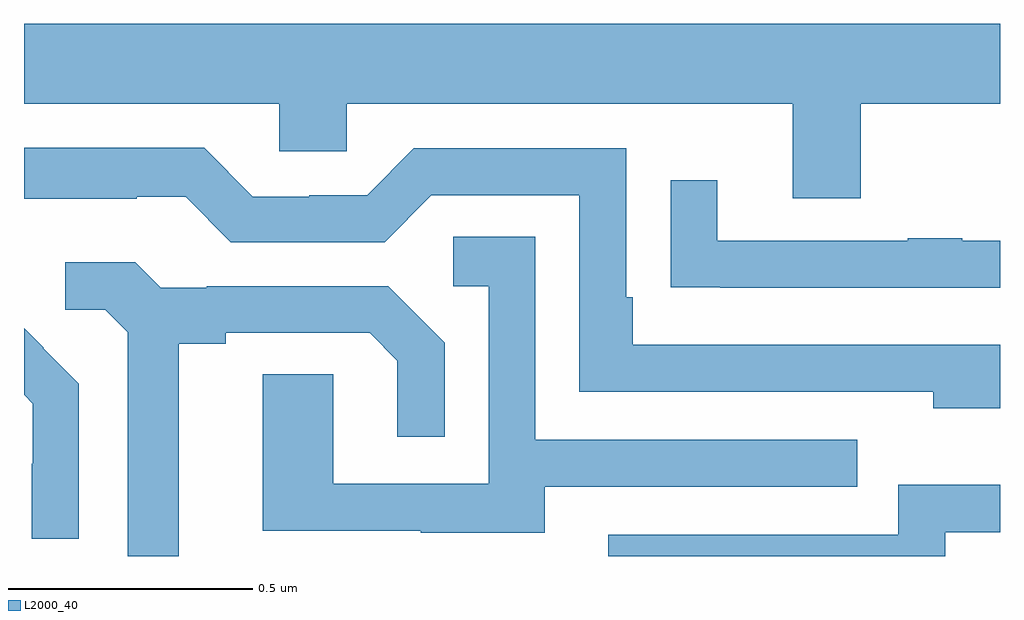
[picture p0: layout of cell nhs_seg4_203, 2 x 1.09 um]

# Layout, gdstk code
import gdstk
lib = gdstk.Library(unit=1e-6, precision=1e-09)
def P(c, l, *ps):  # polygons
    for p in ps: c.add(gdstk.Polygon(p, *l))
L2000_40 = (2000, 40)

nhs_seg4_203 = lib.new_cell('nhs_seg4_203')
P(nhs_seg4_203, L2000_40, [(114.715,788.828),(115,788.828),(115,788.992),(113,788.992),(113,788.828),(113.523,788.828),(113.523,788.73),(113.661,788.73),(113.661,788.828),(114.575,788.828),(114.575,788.634),(114.715,788.634)],
  [(115,788.334),(114.247,788.334),(114.247,788.431),(114.234,788.431),(114.234,788.736),(113.799,788.736),(113.703,788.64),(113.585,788.64),(113.585,788.637),(113.469,788.637),(113.369,788.737),(113,788.737),(113,788.633),(113.231,788.633),(113.231,788.637),(113.331,788.637),(113.424,788.544),(113.739,788.544),(113.835,788.64),(114.138,788.64),(114.138,788.238),(114.863,788.238),(114.863,788.204),(115,788.204)],
  [(115,788.547),(114.923,788.547),(114.923,788.552),(114.811,788.552),(114.811,788.547),(114.421,788.547),(114.421,788.671),(114.325,788.671),(114.325,788.452),(114.427,788.452),(114.427,788.451),(115,788.451)],
  [(114.067,788.043),(114.707,788.043),(114.707,788.139),(114.048,788.139),(114.048,788.555),(113.88,788.555),(113.88,788.454),(113.952,788.454),(113.952,788.049),(113.634,788.049),(113.634,788.273),(113.489,788.273),(113.489,787.953),(113.813,787.953),(113.813,787.949),(114.067,787.949)],
  [(113.317,788.336),(113.413,788.336),(113.413,788.358),(113.708,788.358),(113.765,788.301),(113.765,788.145),(113.862,788.145),(113.862,788.338),(113.746,788.454),(113.374,788.454),(113.374,788.451),(113.28,788.451),(113.228,788.503),(113.085,788.503),(113.085,788.406),(113.166,788.406),(113.213,788.359),(113.213,787.9),(113.317,787.9)],
  [(113.112,788.254),(113.039,788.327),(113.04,788.328),(113,788.368),(113,788.231),(113.018,788.213),(113.018,788.09),(113.016,788.09),(113.016,787.936),(113.112,787.936)],
  [(114.888,787.95),(115,787.95),(115,788.047),(114.792,788.047),(114.792,787.944),(114.197,787.944),(114.197,787.9),(114.888,787.9)])

lib.write_gds('nhs_seg4_203.gds')
